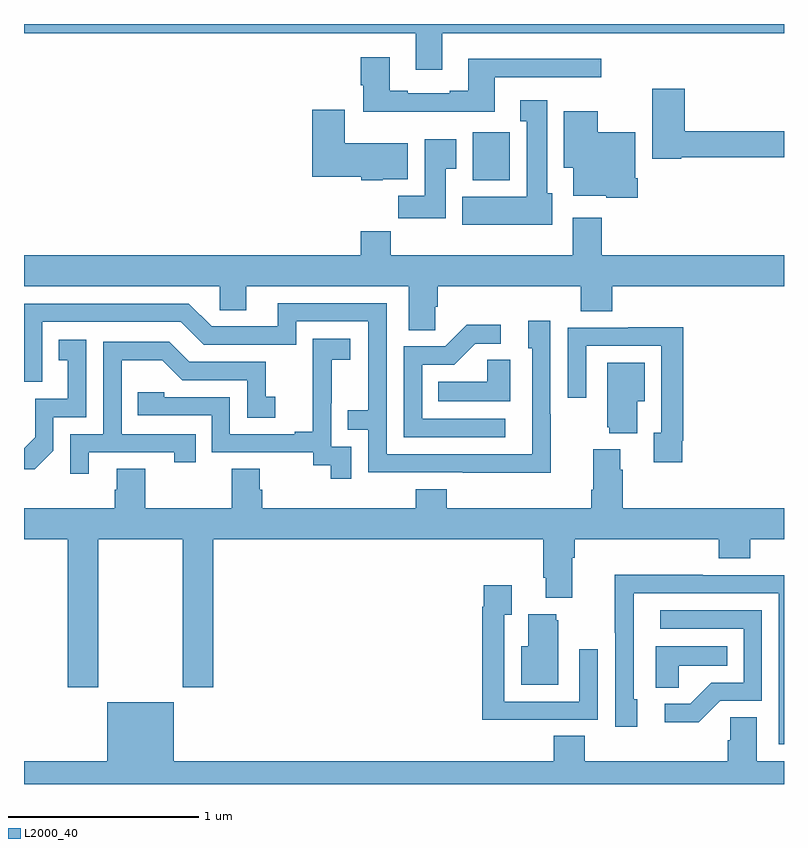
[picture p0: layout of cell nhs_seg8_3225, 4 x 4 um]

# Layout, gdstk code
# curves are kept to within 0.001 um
import gdstk
lib = gdstk.Library(unit=1e-6, precision=1e-09)
def R(c, l, rs):  # rectangles x0, y0, x1, y1
    for r in rs: c.add(gdstk.rectangle(r[:2], r[2:], *l))
def P(c, l, *ps):  # polygons
    for p in ps: c.add(gdstk.Polygon(p, *l))
L2000_40 = (2000, 40)

nhs_seg8_3225 = lib.new_cell('nhs_seg8_3225')
R(nhs_seg8_3225, L2000_40, [(313.361,1097.078,313.557,1097.329)])
P(nhs_seg8_3225, L2000_40, [(313.201,1097.852),(315,1097.852),(315,1097.9),(311,1097.9),(311,1097.852),(313.061,1097.852),(313.061,1097.658),(313.201,1097.658)],
  [(313.477,1097.619),(314.038,1097.619),(314.038,1097.716),(313.337,1097.716),(313.337,1097.548),(313.241,1097.548),(313.241,1097.535),(313.021,1097.535),(313.021,1097.548),(312.925,1097.548),(312.925,1097.725),(312.773,1097.725),(312.773,1097.577),(312.785,1097.577),(312.785,1097.438),(313.477,1097.438)],
  [(314.46,1097.2),(315,1097.2),(315,1097.336),(314.477,1097.336),(314.477,1097.56),(314.306,1097.56),(314.306,1097.192),(314.46,1097.192)],
  [(313.78,1097.01),(313.753,1097.01),(313.753,1097.5),(313.613,1097.5),(313.613,1097.387),(313.646,1097.387),(313.646,1096.99),(313.307,1096.99),(313.307,1096.844),(313.78,1096.844)],
  [(312.888,1097.084),(313.021,1097.084),(313.021,1097.272),(312.688,1097.272),(312.688,1097.449),(312.518,1097.449),(312.518,1097.096),(312.774,1097.096),(312.774,1097.078),(312.888,1097.078)],
  [(314.231,1097.089),(314.218,1097.089),(314.218,1097.329),(314.02,1097.329),(314.02,1097.44),(313.841,1097.44),(313.841,1097.144),(313.892,1097.144),(313.892,1096.997),(314.064,1096.997),(314.064,1096.985),(314.231,1096.985)],
  [(313.219,1097.137),(313.276,1097.137),(313.276,1097.293),(313.109,1097.293),(313.109,1096.996),(312.97,1096.996),(312.97,1096.878),(313.219,1096.878)],
  [(313.164,1096.411),(313.178,1096.411),(313.178,1096.52),(313.931,1096.52),(313.931,1096.387),(314.096,1096.387),(314.096,1096.52),(315,1096.52),(315,1096.684),(314.042,1096.684),(314.042,1096.879),(313.889,1096.879),(313.889,1096.684),(312.929,1096.684),(312.929,1096.808),(312.773,1096.808),(312.773,1096.684),(311,1096.684),(311,1096.52),(312.03,1096.52),(312.03,1096.393),(312.169,1096.393),(312.169,1096.52),(313.025,1096.52),(313.025,1096.288),(313.164,1096.288)],
  [(313.773,1095.845),(313.77,1095.845),(313.77,1096.339),(313.655,1096.339),(313.655,1096.194),(313.674,1096.194),(313.674,1095.636),(312.909,1095.636),(312.909,1096.431),(312.335,1096.431),(312.335,1096.308),(311.988,1096.308),(311.868,1096.428),(311,1096.428),(311,1096.017),(311.097,1096.017),(311.097,1096.332),(311.826,1096.332),(311.946,1096.212),(312.432,1096.212),(312.432,1096.335),(312.813,1096.335),(312.813,1095.866),(312.703,1095.866),(312.703,1095.765),(312.813,1095.765),(312.813,1095.54),(313.773,1095.539)],
  [(313.534,1095.822),(313.095,1095.822),(313.095,1096.107),(313.264,1096.107),(313.375,1096.218),(313.51,1096.218),(313.51,1096.316),(313.331,1096.316),(313.218,1096.203),(312.999,1096.203),(312.999,1095.726),(313.534,1095.726)],
  [(314.464,1095.706),(314.471,1095.706),(314.471,1096.304),(314.179,1096.304),(314.179,1096.302),(313.863,1096.302),(313.863,1095.933),(313.959,1095.933),(313.959,1096.206),(314.355,1096.206),(314.355,1095.75),(314.315,1095.75),(314.315,1095.594),(314.464,1095.594)],
  [(312.723,1095.675),(312.618,1095.675),(312.618,1095.905),(312.62,1095.905),(312.62,1096.133),(312.718,1096.133),(312.718,1096.243),(312.52,1096.243),(312.52,1096.037),(312.521,1096.037),(312.521,1095.754),(312.425,1095.754),(312.425,1095.741),(312.084,1095.741),(312.084,1095.936),(311.739,1095.936),(311.739,1095.963),(311.599,1095.963),(311.599,1095.84),(311.988,1095.84),(311.988,1095.645),(312.522,1095.645),(312.522,1095.577),(312.615,1095.577),(312.615,1095.507),(312.723,1095.507)],
  [(311.154,1095.654),(311.154,1095.831),(311.328,1095.831),(311.328,1096.237),(311.182,1096.237),(311.182,1096.131),(311.231,1096.131),(311.231,1095.927),(311.058,1095.927),(311.058,1095.726),(311,1095.668),(311,1095.557),(311.056,1095.557)],
  [(311.341,1095.645),(311.792,1095.645),(311.792,1095.594),(311.903,1095.594),(311.903,1095.741),(311.514,1095.741),(311.514,1096.13),(311.728,1096.13),(311.832,1096.026),(312.174,1096.026),(312.174,1095.828),(312.322,1095.828),(312.322,1095.937),(312.273,1095.937),(312.273,1096.122),(311.869,1096.122),(311.764,1096.227),(311.418,1096.227),(311.418,1095.741),(311.244,1095.741),(311.244,1095.534),(311.341,1095.534)],
  [(313.558,1096.133),(313.437,1096.133),(313.437,1096.018),(313.18,1096.018),(313.18,1095.914),(313.558,1095.914)],
  [(314.227,1095.914),(314.266,1095.914),(314.266,1096.117),(314.069,1096.117),(314.069,1095.777),(314.081,1095.777),(314.081,1095.746),(314.227,1095.746)],
  [(314.15,1095.554),(314.137,1095.554),(314.137,1095.661),(313.997,1095.661),(313.997,1095.448),(313.985,1095.448),(313.985,1095.352),(313.226,1095.352),(313.226,1095.451),(313.061,1095.451),(313.061,1095.352),(312.254,1095.352),(312.254,1095.45),(312.241,1095.45),(312.241,1095.56),(312.094,1095.56),(312.094,1095.352),(311.637,1095.352),(311.637,1095.56),(311.489,1095.56),(311.489,1095.45),(311.477,1095.45),(311.477,1095.352),(311,1095.352),(311,1095.188),(311.231,1095.188),(311.231,1094.409),(311.391,1094.409),(311.391,1095.188),(311.836,1095.188),(311.836,1094.409),(311.996,1094.409),(311.996,1095.188),(313.733,1095.188),(313.733,1094.986),(313.745,1094.986),(313.745,1094.879),(313.885,1094.879),(313.885,1095.092),(313.898,1095.092),(313.898,1095.188),(314.657,1095.188),(314.657,1095.089),(314.822,1095.089),(314.822,1095.188),(315,1095.188),(315,1095.352),(314.15,1095.352)],
  [(315,1095),(314.573,1095),(314.573,1095.002),(314.11,1095.002),(314.11,1094.695),(314.112,1094.695),(314.112,1094.202),(314.227,1094.202),(314.227,1094.346),(314.208,1094.346),(314.208,1094.904),(314.973,1094.904),(314.973,1094.109),(315,1094.109)],
  [(313.703,1094.238),(314.019,1094.238),(314.019,1094.608),(313.923,1094.608),(313.923,1094.334),(313.527,1094.334),(313.527,1094.791),(313.567,1094.791),(313.567,1094.947),(313.419,1094.947),(313.419,1094.834),(313.411,1094.834),(313.411,1094.237),(313.703,1094.237)],
  [(314.664,1094.337),(314.883,1094.337),(314.883,1094.814),(314.349,1094.814),(314.349,1094.718),(314.787,1094.718),(314.787,1094.433),(314.618,1094.433),(314.507,1094.322),(314.373,1094.322),(314.373,1094.225),(314.551,1094.225)],
  [(313.813,1094.763),(313.802,1094.763),(313.802,1094.794),(313.655,1094.794),(313.655,1094.626),(313.616,1094.626),(313.616,1094.423),(313.813,1094.423)],
  [(314.445,1094.522),(314.702,1094.522),(314.702,1094.626),(314.324,1094.626),(314.324,1094.407),(314.445,1094.407)],
  [(315,1094.02),(314.857,1094.02),(314.857,1094.252),(314.718,1094.252),(314.718,1094.129),(314.705,1094.129),(314.705,1094.02),(313.952,1094.02),(313.952,1094.153),(313.787,1094.153),(313.787,1094.02),(311.788,1094.02),(311.788,1094.329),(311.438,1094.329),(311.438,1094.02),(311,1094.02),(311,1093.9),(315,1093.9)])

lib.write_gds('nhs_seg8_3225.gds')
